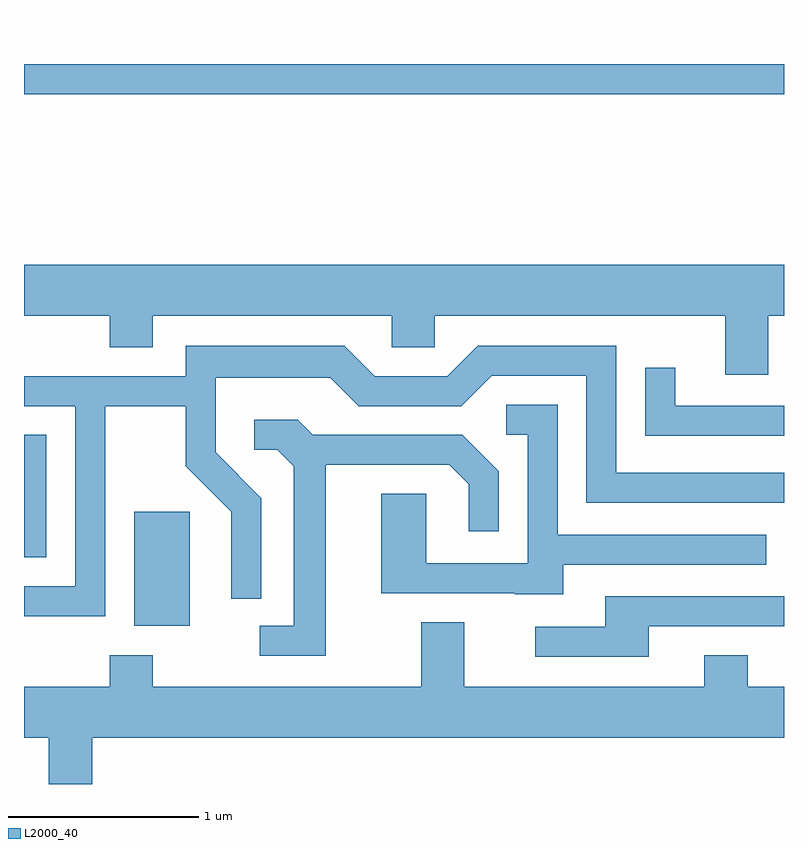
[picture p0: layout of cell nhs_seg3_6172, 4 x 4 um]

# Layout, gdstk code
import gdstk
lib = gdstk.Library(unit=1e-6, precision=1e-09)
def R(c, l, rs):  # rectangles x0, y0, x1, y1
    for r in rs: c.add(gdstk.rectangle(r[:2], r[2:], *l))
def P(c, l, *ps):  # polygons
    for p in ps: c.add(gdstk.Polygon(p, *l))
L2000_40 = (2000, 40)

nhs_seg3_6172 = lib.new_cell('nhs_seg3_6172')
R(nhs_seg3_6172, L2000_40, [(366.191,1228.726,366.484,1229.324), (365.611,1229.086,365.729,1229.729), (365.611,1231.521,369.611,1231.679), (365.611,1231.891,369.611,1231.892)])
P(nhs_seg3_6172, L2000_40, [(369.529,1230.356),(369.611,1230.356),(369.611,1230.624),(365.611,1230.624),(365.611,1230.356),(366.061,1230.356),(366.061,1230.191),(366.289,1230.191),(366.289,1230.356),(367.546,1230.356),(367.546,1230.191),(367.774,1230.191),(367.774,1230.356),(369.301,1230.356),(369.301,1230.046),(369.529,1230.046)],
  [(366.039,1229.881),(366.461,1229.881),(366.461,1229.564),(366.701,1229.324),(366.701,1228.868),(366.859,1228.868),(366.859,1229.397),(366.619,1229.637),(366.619,1230.031),(367.224,1230.031),(367.374,1229.881),(367.912,1229.881),(368.072,1230.041),(368.571,1230.041),(368.571,1229.371),(369.611,1229.371),(369.611,1229.529),(368.729,1229.529),(368.729,1230.199),(367.999,1230.199),(367.839,1230.039),(367.457,1230.039),(367.297,1230.199),(366.461,1230.199),(366.461,1230.039),(365.611,1230.039),(365.611,1229.881),(365.881,1229.881),(365.881,1228.934),(365.611,1228.934),(365.611,1228.776),(366.039,1228.776)],
  [(369.611,1229.884),(369.039,1229.884),(369.039,1230.083),(368.881,1230.083),(368.881,1229.726),(369.611,1229.726)],
  [(368.449,1229.046),(369.518,1229.046),(369.518,1229.204),(368.419,1229.204),(368.419,1229.889),(368.148,1229.889),(368.148,1229.731),(368.261,1229.731),(368.261,1229.054),(367.729,1229.054),(367.729,1229.419),(367.491,1229.419),(367.491,1228.896),(368.195,1228.896),(368.195,1228.891),(368.449,1228.891)],
  [(367.199,1229.571),(367.849,1229.571),(367.951,1229.469),(367.951,1229.223),(368.109,1229.223),(368.109,1229.537),(367.917,1229.729),(367.132,1229.729),(367.052,1229.809),(366.823,1229.809),(366.823,1229.651),(366.944,1229.651),(367.031,1229.564),(367.031,1228.724),(366.853,1228.724),(366.853,1228.566),(367.199,1228.566)],
  [(368.899,1228.721),(369.611,1228.721),(369.611,1228.879),(368.671,1228.879),(368.671,1228.719),(368.303,1228.719),(368.303,1228.561),(368.899,1228.561)],
  [(365.969,1228.136),(369.611,1228.136),(369.611,1228.404),(369.419,1228.404),(369.419,1228.569),(369.191,1228.569),(369.191,1228.404),(367.929,1228.404),(367.929,1228.744),(367.701,1228.744),(367.701,1228.404),(366.289,1228.404),(366.289,1228.569),(366.061,1228.569),(366.061,1228.404),(365.611,1228.404),(365.611,1228.136),(365.741,1228.136),(365.741,1227.892),(365.969,1227.892)])

lib.write_gds('nhs_seg3_6172.gds')
